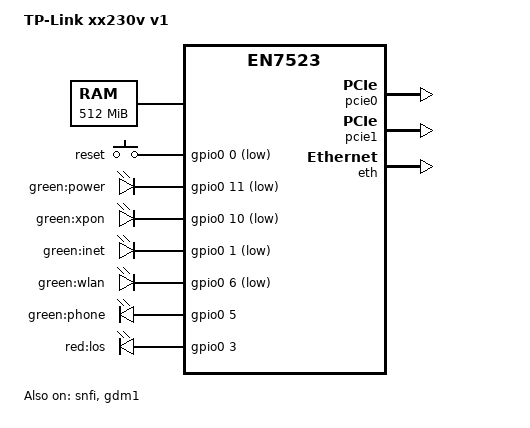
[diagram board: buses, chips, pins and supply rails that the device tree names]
// SPDX-License-Identifier: (GPL-2.0-only OR BSD-2-Clause)
/dts-v1/;

/* Bootloader installs ATF here */
/memreserve/ 0x80000000 0x200000;

#include <dt-bindings/input/linux-event-codes.h>
#include "en7523.dtsi"

/ {
	model = "TP-Link xx230v v1";
	compatible = "airoha,en7523-xx230v-v1", "airoha,en7523";

	aliases {
		serial0 = &uart1;
	};

	chosen {
		bootargs = "console=ttyS0,115200 earlycon";
		stdout-path = "serial0:115200n8";
		linux,usable-memory-range = <0x80200000 0x1fe00000>;
	};

	memory@80000000 {
		device_type = "memory";
		reg = <0x80000000 0x20000000>;
	};

	keys {
		compatible = "gpio-keys-polled";
		poll-interval = <100>;

		reset {
			label = "reset";
			linux,code = <KEY_RESTART>;
			gpios = <&gpio0 0 GPIO_ACTIVE_LOW>;
			default-state = "off";
			debounce-interval = <60>;
		};
	};

	leds {
		compatible = "gpio-leds";

		// Power
		led@0 {
			label = "green:power";
			gpios = <&gpio0 11 GPIO_ACTIVE_LOW>;
			default-state = "off";
		};

		// xPON
		led@1 {
			label = "green:xpon";
			gpios = <&gpio0 10 GPIO_ACTIVE_LOW>;
			default-state = "off";
		};

		// internet
		led@3 {
			label = "green:inet";
			gpios = <&gpio0 1 GPIO_ACTIVE_LOW>;
			default-state = "off";
		};

		// Wireless
		led@4 {
			label = "green:wlan";
			gpios = <&gpio0 6 GPIO_ACTIVE_LOW>;
			default-state = "off";
		};

		// Phone
		led@5 {
			label = "green:phone";
			gpios = <&gpio0 5 GPIO_ACTIVE_HIGH>;
			default-state = "off";
		};

		// LOS
		led@2 {
			label = "red:los";
			gpios = <&gpio0 3 GPIO_ACTIVE_HIGH>;
			default-state = "off";
		};
	};
};

&gpio0 {
	status = "okay";
};

&gpio1 {
	status = "okay";
};

&pcie0 {
	status = "okay";
};

&pcie1 {
	status = "okay";
};

&snfi {
	status = "okay";
};

&spi_nand {
	partitions {
		compatible = "fixed-partitions";
		#address-cells = <1>;
		#size-cells = <1>;

		partition@0 {
			label = "u-boot";
			reg = <0x00000000 0x00100000>;
		};

		partition@100000 {
			label = "ubi";
			reg = <0x00100000 0x0>;
		};
	};
};

&eth {
	status = "okay";
};

&gdm1 {
	status = "okay";
};

